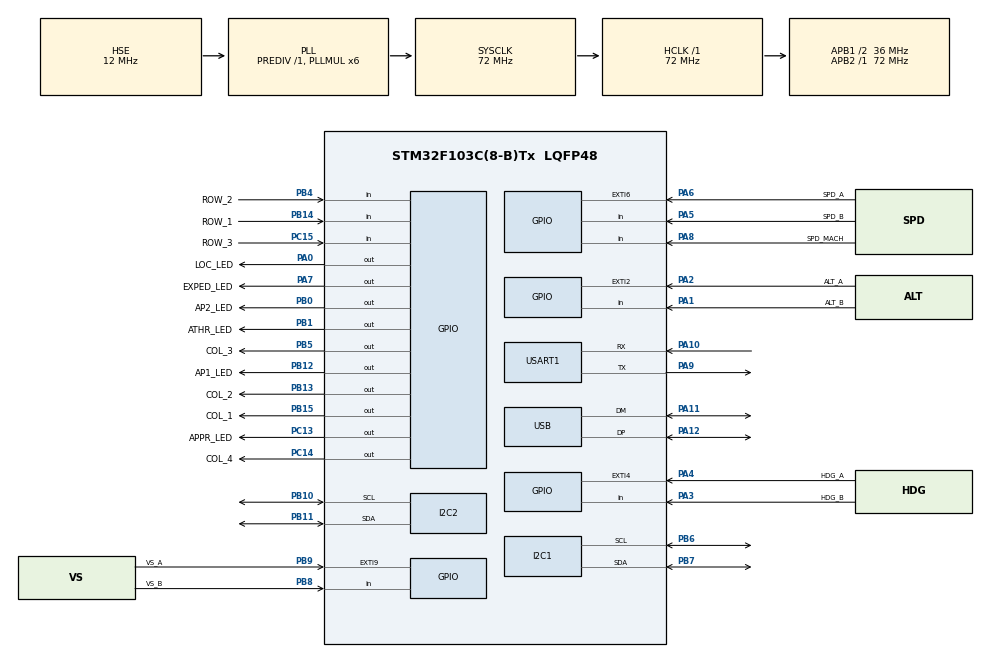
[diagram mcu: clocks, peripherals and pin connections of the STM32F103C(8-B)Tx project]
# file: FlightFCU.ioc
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Dma.I2C1_TX.0.Direction=DMA_MEMORY_TO_PERIPH
Dma.I2C1_TX.0.Instance=DMA1_Channel6
Dma.I2C1_TX.0.MemDataAlignment=DMA_MDATAALIGN_BYTE
Dma.I2C1_TX.0.MemInc=DMA_MINC_ENABLE
Dma.I2C1_TX.0.Mode=DMA_NORMAL
Dma.I2C1_TX.0.PeriphDataAlignment=DMA_PDATAALIGN_BYTE
Dma.I2C1_TX.0.PeriphInc=DMA_PINC_DISABLE
Dma.I2C1_TX.0.Priority=DMA_PRIORITY_LOW
Dma.I2C2_TX.1.Direction=DMA_MEMORY_TO_PERIPH
Dma.I2C2_TX.1.Instance=DMA1_Channel4
Dma.I2C2_TX.1.MemDataAlignment=DMA_MDATAALIGN_BYTE
Dma.I2C2_TX.1.MemInc=DMA_MINC_ENABLE
Dma.I2C2_TX.1.Mode=DMA_NORMAL
Dma.I2C2_TX.1.PeriphDataAlignment=DMA_PDATAALIGN_BYTE
Dma.I2C2_TX.1.PeriphInc=DMA_PINC_DISABLE
Dma.I2C2_TX.1.Priority=DMA_PRIORITY_LOW
Dma.Request0=I2C1_TX
Dma.Request1=I2C2_TX
FREERTOS.Mutexes01=printfMutex,Dynamic,NULL
FREERTOS.Tasks01=defaultTask,24,128,StartDefaultTask,Default,NULL,Dynamic,NULL,NULL
FREERTOS.configMINIMAL_STACK_SIZE=128
FREERTOS.configTICK_RATE_HZ=1000
FREERTOS.configTOTAL_HEAP_SIZE=8192
FREERTOS.configUSE_NEWLIB_REENTRANT=1
I2C1.I2C_Mode=I2C_Fast
I2C2.I2C_Mode=I2C_Fast
Mcu.Family=STM32F1
Mcu.Name=STM32F103C(8-B)Tx
Mcu.Package=LQFP48
NVIC.DMA1_Channel4_IRQn=true\:5\:0\:false\:false\:true\:true\:false\:true\:true
NVIC.DMA1_Channel6_IRQn=true\:5\:0\:false\:false\:true\:true\:false\:true\:true
NVIC.EXTI2_IRQn=true\:2\:0\:true\:false\:true\:false\:true\:true\:true
NVIC.EXTI4_IRQn=true\:2\:0\:true\:false\:true\:false\:true\:true\:true
NVIC.EXTI9_5_IRQn=true\:2\:0\:true\:false\:true\:false\:true\:true\:true
NVIC.PriorityGroup=NVIC_PRIORITYGROUP_4
NVIC.TIM2_IRQn=true\:15\:0\:false\:false\:true\:false\:false\:true\:true
NVIC.TimeBase=TIM2_IRQn
NVIC.TimeBaseIP=TIM2
NVIC.USB_LP_CAN1_RX0_IRQn=true\:0\:0\:true\:true\:true\:1\:false\:false\:true\:true
PA0-WKUP.GPIO_Label=LOC_LED
PA0-WKUP.Signal=GPIO_Output
PA1.GPIO_Label=ALT_B
PA1.Signal=GPIO_Input
PA10.Mode=Asynchronous
PA10.Signal=USART1_RX
PA11.Mode=Device
PA11.Signal=USB_DM
PA12.Mode=Device
PA12.Signal=USB_DP
PA13.Mode=Serial_Wire
PA13.Signal=SYS_JTMS-SWDIO
PA14.Mode=Serial_Wire
PA14.Signal=SYS_JTCK-SWCLK
PA2.GPIO_Label=ALT_A
PA2.GPIO_ModeDefaultEXTI=GPIO_MODE_IT_RISING_FALLING
PA2.Signal=GPXTI2
PA3.GPIO_Label=HDG_B
PA3.Signal=GPIO_Input
PA4.GPIO_Label=HDG_A
PA4.GPIO_ModeDefaultEXTI=GPIO_MODE_IT_RISING_FALLING
PA4.Signal=GPXTI4
PA5.GPIO_Label=SPD_B
PA5.Signal=GPIO_Input
PA6.GPIO_Label=SPD_A
PA6.GPIO_ModeDefaultEXTI=GPIO_MODE_IT_RISING_FALLING
PA6.Signal=GPXTI6
PA7.GPIO_Label=EXPED_LED
PA7.Signal=GPIO_Output
PA8.GPIO_Label=SPD_MACH
PA8.GPIO_PuPd=GPIO_PULLUP
PA8.Signal=GPIO_Input
PA9.Mode=Asynchronous
PA9.Signal=USART1_TX
PB0.GPIO_Label=AP2_LED
PB0.Signal=GPIO_Output
PB1.GPIO_Label=ATHR_LED
PB1.Signal=GPIO_Output
PB10.Mode=I2C
PB10.Signal=I2C2_SCL
PB11.Mode=I2C
PB11.Signal=I2C2_SDA
PB12.GPIO_Label=AP1_LED
PB12.Signal=GPIO_Output
PB13.GPIO_Label=COL_2
PB13.GPIO_PuPd=GPIO_NOPULL
PB13.GPIO_Speed=GPIO_SPEED_FREQ_HIGH
PB13.PinState=GPIO_PIN_RESET
PB13.Signal=GPIO_Output
PB14.GPIO_Label=ROW_1
PB14.GPIO_PuPd=GPIO_PULLDOWN
PB14.Signal=GPIO_Input
PB15.GPIO_Label=COL_1
PB15.GPIO_PuPd=GPIO_NOPULL
PB15.GPIO_Speed=GPIO_SPEED_FREQ_HIGH
PB15.PinState=GPIO_PIN_RESET
PB15.Signal=GPIO_Output
PB4.GPIO_Label=ROW_2
PB4.GPIO_PuPd=GPIO_PULLDOWN
PB4.Signal=GPIO_Input
PB5.GPIO_Label=COL_3
PB5.GPIO_PuPd=GPIO_NOPULL
PB5.GPIO_Speed=GPIO_SPEED_FREQ_HIGH
PB5.PinState=GPIO_PIN_RESET
PB5.Signal=GPIO_Output
PB6.Mode=I2C
PB6.Signal=I2C1_SCL
PB7.Mode=I2C
PB7.Signal=I2C1_SDA
PB8.GPIO_Label=VS_B
PB8.Signal=GPIO_Input
PB9.GPIO_Label=VS_A
PB9.GPIO_ModeDefaultEXTI=GPIO_MODE_IT_RISING_FALLING
PB9.Signal=GPXTI9
PC13-TAMPER-RTC.GPIO_Label=APPR_LED
PC13-TAMPER-RTC.Signal=GPIO_Output
PC14-OSC32_IN.GPIO_Label=COL_4
PC14-OSC32_IN.GPIO_PuPd=GPIO_NOPULL
PC14-OSC32_IN.GPIO_Speed=GPIO_SPEED_FREQ_HIGH
PC14-OSC32_IN.PinState=GPIO_PIN_RESET
PC14-OSC32_IN.Signal=GPIO_Output
PC15-OSC32_OUT.GPIO_Label=ROW_3
PC15-OSC32_OUT.GPIO_PuPd=GPIO_PULLDOWN
PC15-OSC32_OUT.Signal=GPIO_Input
PD0-OSC_IN.Mode=HSE-External-Oscillator
PD0-OSC_IN.Signal=RCC_OSC_IN
PD1-OSC_OUT.Mode=HSE-External-Oscillator
PD1-OSC_OUT.Signal=RCC_OSC_OUT
ProjectManager.HeapSize=0x200
ProjectManager.StackSize=0x400
ProjectManager.TargetToolchain=STM32CubeIDE
RCC.AHBFreq_Value=72000000
RCC.APB1CLKDivider=RCC_HCLK_DIV2
RCC.APB1Freq_Value=36000000
RCC.APB1TimFreq_Value=72000000
RCC.APB2Freq_Value=72000000
RCC.APB2TimFreq_Value=72000000
RCC.HCLKFreq_Value=72000000
RCC.HSE_VALUE=12000000
RCC.PLLMUL=RCC_PLL_MUL6
RCC.PLLSourceVirtual=RCC_PLLSOURCE_HSE
RCC.SYSCLKFreq_VALUE=72000000
RCC.SYSCLKSource=RCC_SYSCLKSOURCE_PLLCLK
RCC.USBFreq_Value=48000000
RCC.USBPrescaler=RCC_USBCLKSOURCE_PLL_DIV1_5
TIM3.Period=65535
TIM3.Prescaler=72-1
USART1.VirtualMode=VM_ASYNC
USB_DEVICE.CLASS_NAME_FS=CUSTOM_HID
USB_DEVICE.MANUFACTURER_STRING=XLD Electric Inc.
USB_DEVICE.USBD_CUSTOMHID_OUTREPORT_BUF_SIZE=13
USB_DEVICE.USBD_CUSTOM_HID_REPORT_DESC_SIZE=36
USB_DEVICE.VID=2023
USB_DEVICE.VirtualMode=CustomHid
USB_DEVICE.VirtualModeFS=Custom_Hid_FS
VP_FREERTOS_VS_CMSIS_V2.Mode=CMSIS_V2
VP_SYS_VS_tim2.Mode=TIM2
VP_TIM3_VS_ClockSourceINT.Mode=Internal
VP_USB_DEVICE_VS_USB_DEVICE_CUSTOM_HID_FS.Mode=CUSTOM_HID_FS
board=custom

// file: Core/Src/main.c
/* USER CODE BEGIN Header */
/**
 ******************************************************************************
 * @file           : main.c
 * @brief          : Main program body
 ******************************************************************************
 * @attention
 *
 * Copyright (c) 2023 STMicroelectronics.
 * All rights reserved.
 *
 * This software is licensed under terms that can be found in the LICENSE file
 * in the root directory of this software component.
 * If no LICENSE file comes with this software, it is provided AS-IS.
 *
 ******************************************************************************
 */
/* USER CODE END Header */
#include "main.h"
#include "cmsis_os.h"
#include "dma.h"
#include "i2c.h"
#include "tim.h"
#include "usart.h"
#include "usb_device.h"
#include "gpio.h"

/* USER CODE BEGIN Includes */
#include "usbd_customhid.h"
#include "stdio.h"
#include "bsp_key.h"
#include "u8g2.h"
#include "stm32_u8g2.h"
/* USER CODE END Includes */

/* USER CODE BEGIN PV */

uint32_t usb_send_buf = {0};
/* USER CODE END PV */

void SystemClock_Config(void);
void MX_FREERTOS_Init(void);
static void MX_NVIC_Init(void);
/* USER CODE BEGIN PFP */
uint8_t __io_putchar(int ch)
{
    HAL_UART_Transmit(&huart1, (uint8_t *)&ch, 1, 0xFFFF);
    return ch;
}

/* USER CODE END PFP */

/* USER CODE BEGIN 0 */
/* 使用状态机来完成数据维护 */
panel_state_t fcu_state = {0};
uint8_t fcu_update      = 1;

/**
 * @brief  EXTI line detection callbacks.
 * @param  GPIO_Pin: Specifies the pins connected EXTI line
 * @retval None
 */
void HAL_GPIO_EXTI_Callback(uint16_t GPIO_Pin)
{
    // ec11 interrupt variable
    static uint8_t spd_flag, spd_cw1, spd_cw2;
    static uint8_t hdg_flag, hdg_cw1, hdg_cw2;
    static uint8_t alt_flag, alt_cw1, alt_cw2;
    static uint8_t vs_flag, vs_cw1, vs_cw2;
    static uint8_t alv, blv;
    /* Prevent unused argument(s) compilation warning */
    /* NOTE: This function Should not be modified, when the callback is needed,
             the HAL_GPIO_EXTI_Callback could be implemented in the user file
     */
    if (GPIO_Pin == SPD_A_Pin) {
        alv = HAL_GPIO_ReadPin(SPD_A_GPIO_Port, SPD_A_Pin);
        blv = HAL_GPIO_ReadPin(SPD_B_GPIO_Port, SPD_B_Pin);
        if (spd_flag == 0 && alv == 0) {
            spd_cw1  = blv;
            spd_flag = 1;
        }
        if (spd_flag && alv) {
            spd_cw2 = 1 - blv; // 取反是因为 alv,blv必然异步，一高一低。
            if (spd_cw1 && spd_cw2) {
                usb_send_buf |= 1 << SPD_A_SFB;
                //                fcu_state.spd_selected += 1;
            }
            if (spd_cw1 == 0 && spd_cw2 == 0) {
                usb_send_buf |= 1 << SPD_B_SFB;
                //                fcu_state.spd_selected -= 1;
            }
            spd_flag = 0;
        }
    } else if (GPIO_Pin == HDG_A_Pin) {
        alv = HAL_GPIO_ReadPin(HDG_A_GPIO_Port, HDG_A_Pin);
        blv = HAL_GPIO_ReadPin(HDG_B_GPIO_Port, HDG_B_Pin);
        if (hdg_flag == 0 && alv == 0) {
            hdg_cw1  = blv;
            hdg_flag = 1;
        }
        if (hdg_flag && alv) {
            hdg_cw2 = 1 - blv; // 取反是因为 alv,blv必然异步，一高一低。
            if (hdg_cw1 && hdg_cw2) {
                usb_send_buf |= 1 << HDG_A_SFB;
                //                fcu_state.hdg_selected += 1;
            }
            if (hdg_cw1 == 0 && hdg_cw2 == 0) {
                usb_send_buf |= 1 << HDG_B_SFB;
                //                fcu_state.hdg_selected -= 1;
            }
            hdg_flag = 0;
        }
    } else if (GPIO_Pin == ALT_A_Pin) {
        alv = HAL_GPIO_ReadPin(ALT_A_GPIO_Port, ALT_A_Pin);
        blv = HAL_GPIO_ReadPin(ALT_B_GPIO_Port, ALT_B_Pin);
        if (alt_flag == 0 && alv == 0) {
            alt_cw1  = blv;
            alt_flag = 1;
        }
        if (alt_flag && alv) {
            alt_cw2 = 1 - blv; // 取反是因为 alv,blv必然异步，一高一低。
            if (alt_cw1 && alt_cw2) {
                usb_send_buf |= 1 << ALT_A_SFB;
                fcu_state.alt_selected += fcu_state.alt_increment == 0 ? 100 : 1000;
            }
            if (alt_cw1 == 0 && alt_cw2 == 0) {
                usb_send_buf |= 1 << ALT_B_SFB;
                fcu_state.alt_selected -= fcu_state.alt_increment == 0 ? 100 : 1000;
            }
            alt_flag = 0;
        }
    } else if (GPIO_Pin == VS_A_Pin) {
        alv = HAL_GPIO_ReadPin(VS_A_GPIO_Port, VS_A_Pin);
        blv = HAL_GPIO_ReadPin(VS_B_GPIO_Port, VS_B_Pin);
        //        printf("alv:%d blv:%d\n", alv, blv);
        if (vs_flag == 0 && alv == 0) {
            vs_cw1  = blv;
            vs_flag = 1;
        }
        if (vs_flag && alv) {
            vs_cw2 = 1 - blv; // 取反是因为 alv,blv必然异步，一高一低。
            if (vs_cw1 && vs_cw2) {
                usb_send_buf |= 1 << VS_A_SFB;
                //                fcu_state.vs_selected += 1;
            }
            if (vs_cw1 == 0 && vs_cw2 == 0) {
                usb_send_buf |= 1 << VS_B_SFB;
                //                fcu_state.vs_selected -= 1;
            }
            vs_flag = 0;
        }
    }
}
u8g2_t screen_left;
u8g2_t screen_right;
/* USER CODE END 0 */

int main(void)
{

    /* MCU Configuration--------------------------------------------------------*/

    /* Reset of all peripherals, Initializes the Flash interface and the Systick. */
    HAL_Init();

    /* Configure the system clock */
    SystemClock_Config();

    /* Initialize all configured peripherals */
    MX_GPIO_Init();
    MX_DMA_Init();
    MX_I2C1_Init();
    MX_I2C2_Init();
    MX_USART1_UART_Init();
    MX_TIM3_Init();

    /* Initialize interrupts */
    MX_NVIC_Init();
    /* USER CODE BEGIN 2 */
    /*------------ 初始化 ---------------*/

    u8g2_init_hi2c2(&screen_left);
    u8g2_init_hi2c1(&screen_right);
    /* USER CODE END 2 */

    /* Init scheduler */
    osKernelInitialize(); /* Call init function for freertos objects (in freertos.c) */
    MX_FREERTOS_Init();

    /* Start scheduler */
    osKernelStart();
    /* We should never get here as control is now taken by the scheduler */
    /* Infinite loop */
    while (1) {

    }
}

void SystemClock_Config(void)
{
    RCC_OscInitTypeDef RCC_OscInitStruct   = {0};
    RCC_ClkInitTypeDef RCC_ClkInitStruct   = {0};
    RCC_PeriphCLKInitTypeDef PeriphClkInit = {0};

    /** Initializes the RCC Oscillators according to the specified parameters
     * in the RCC_OscInitTypeDef structure.
     */
    RCC_OscInitStruct.OscillatorType = RCC_OSCILLATORTYPE_HSE;
    RCC_OscInitStruct.HSEState       = RCC_HSE_ON;
    RCC_OscInitStruct.HSEPredivValue = RCC_HSE_PREDIV_DIV1;
    RCC_OscInitStruct.HSIState       = RCC_HSI_ON;
    RCC_OscInitStruct.PLL.PLLState   = RCC_PLL_ON;
    RCC_OscInitStruct.PLL.PLLSource  = RCC_PLLSOURCE_HSE;
    RCC_OscInitStruct.PLL.PLLMUL     = RCC_PLL_MUL6;
    if (HAL_RCC_OscConfig(&RCC_OscInitStruct) != HAL_OK) {
        Error_Handler();
    }

    /** Initializes the CPU, AHB and APB buses clocks
     */
    RCC_ClkInitStruct.ClockType      = RCC_CLOCKTYPE_HCLK | RCC_CLOCKTYPE_SYSCLK | RCC_CLOCKTYPE_PCLK1 | RCC_CLOCKTYPE_PCLK2;
    RCC_ClkInitStruct.SYSCLKSource   = RCC_SYSCLKSOURCE_PLLCLK;
    RCC_ClkInitStruct.AHBCLKDivider  = RCC_SYSCLK_DIV1;
    RCC_ClkInitStruct.APB1CLKDivider = RCC_HCLK_DIV2;
    RCC_ClkInitStruct.APB2CLKDivider = RCC_HCLK_DIV1;

    if (HAL_RCC_ClockConfig(&RCC_ClkInitStruct, FLASH_LATENCY_2) != HAL_OK) {
        Error_Handler();
    }
    PeriphClkInit.PeriphClockSelection = RCC_PERIPHCLK_USB;
    PeriphClkInit.UsbClockSelection    = RCC_USBCLKSOURCE_PLL_DIV1_5;
    if (HAL_RCCEx_PeriphCLKConfig(&PeriphClkInit) != HAL_OK) {
        Error_Handler();
    }
}

/**
 * @brief NVIC Configuration.
 * @retval None
 */
static void MX_NVIC_Init(void)
{
    /* USB_LP_CAN1_RX0_IRQn interrupt configuration */
    HAL_NVIC_SetPriority(USB_LP_CAN1_RX0_IRQn, 0, 0);
    HAL_NVIC_EnableIRQ(USB_LP_CAN1_RX0_IRQn);
}

void HAL_TIM_PeriodElapsedCallback(TIM_HandleTypeDef *htim)
{
    if (htim->Instance == TIM2) {
        HAL_IncTick();
    }
}

void Error_Handler(void)
{
    /* USER CODE BEGIN Error_Handler_Debug */
    printf("Error Handler!\n");
    /* User can add his own implementation to report the HAL error return state */
    __disable_irq();
    while (1) {
    }
    /* USER CODE END Error_Handler_Debug */
}

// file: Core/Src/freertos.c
/* USER CODE BEGIN Header */
/**
 ******************************************************************************
 * File Name          : freertos.c
 * Description        : Code for freertos applications
 ******************************************************************************
 * @attention
 *
 * Copyright (c) 2023 STMicroelectronics.
 * All rights reserved.
 *
 * This software is licensed under terms that can be found in the LICENSE file
 * in the root directory of this software component.
 * If no LICENSE file comes with this software, it is provided AS-IS.
 *
 ******************************************************************************
 */
/* USER CODE END Header */

#include "FreeRTOS.h"
#include "task.h"
#include "main.h"
#include "cmsis_os.h"

/* USER CODE BEGIN Includes */
#include "stdio.h"
#include "bsp_key.h"
#include "u8g2.h"
#include "stm32_u8g2.h"
#include "usbd_customhid.h"

/* USER CODE END Includes */

/* USER CODE BEGIN PD */
#define SPD_H_POS             0
#define HDG_H_POS             52

#define ALT_H_POS             0
#define VS_H_POS              72

#define USE_USB_PAGE          1

#define KEY_DEBUG_PRINTF(...) printf(__VA_ARGS__)
/* USER CODE END PD */

/* USER CODE BEGIN Variables */
extern uint32_t usb_send_buf;
extern panel_state_t fcu_state;
extern uint8_t fcu_update;
extern USBD_HandleTypeDef hUsbDeviceFS;
static uint8_t usb_inited = 0;

static inline int8_t USBD_CUSTOM_HID_SendReport_FS(uint8_t *report, uint16_t len)
{
    return USBD_CUSTOM_HID_SendReport(&hUsbDeviceFS, report, len);
}
/* USER CODE END Variables */
/* Definitions for defaultTask */
osThreadId_t defaultTaskHandle;
const osThreadAttr_t defaultTask_attributes = {
    .name       = "defaultTask",
    .stack_size = 128 * 4,
    .priority   = (osPriority_t)osPriorityNormal,
};
/* Definitions for printfMutex */
osMutexId_t printfMutexHandle;
const osMutexAttr_t printfMutex_attributes = {
    .name = "printfMutex"};

/* USER CODE BEGIN FunctionPrototypes */
osThreadId_t displayTaskHandle;
const osThreadAttr_t displayTask_attributes = {
    .name       = "displayTask",
    .stack_size = 512 * 4,
    .priority   = (osPriority_t)osPriorityNormal,
};
osThreadId_t keyScanTaskHandle;
const osThreadAttr_t keyScanTask_attributes = {
    .name       = "keyScanTask",
    .stack_size = 128 * 4,
    .priority   = (osPriority_t)osPriorityNormal,
};
osThreadId_t autopilotBeepTaskHandle;
const osThreadAttr_t autopilotBeepTask_attributes = {
    .name       = "autopilotBeepTask",
    .stack_size = 128 * 1,
    .priority   = (osPriority_t)osPriorityLow,
};
osThreadId_t usbTransmitTaskHandle;
const osThreadAttr_t usbTransmitTask_attributes = {
    .name       = "usbTransmitTask",
    .stack_size = 128 * 1,
    .priority   = (osPriority_t)osPriorityRealtime,
};
void StartDisplayTask(void *argument);
void StartKeyScanTask(void *argument);
void StartAutopilotBeepTask(void *argument);
void StartUSBTransmitTask(void *argument);

void thread_safe_printf(char *format, ...);

/* USER CODE END FunctionPrototypes */

void StartDefaultTask(void *argument);

extern void MX_USB_DEVICE_Init(void);
void MX_FREERTOS_Init(void); /* (MISRA C 2004 rule 8.1) */

void MX_FREERTOS_Init(void)
{
    /* Create the mutex(es) */
    /* creation of printfMutex */
    printfMutexHandle = osMutexNew(&printfMutex_attributes);

    /* Create the thread(s) */
    /* creation of defaultTask */
    defaultTaskHandle = osThreadNew(StartDefaultTask, NULL, &defaultTask_attributes);

    /* USER CODE BEGIN RTOS_THREADS */
    /* add threads, ... */
    displayTaskHandle       = osThreadNew(StartDisplayTask, NULL, &displayTask_attributes);
    keyScanTaskHandle       = osThreadNew(StartKeyScanTask, NULL, &keyScanTask_attributes);
    autopilotBeepTaskHandle = osThreadNew(StartAutopilotBeepTask, NULL, &autopilotBeepTask_attributes);
    usbTransmitTaskHandle   = osThreadNew(StartUSBTransmitTask, NULL, &usbTransmitTask_attributes);
    /* USER CODE END RTOS_THREADS */

}

void StartDefaultTask(void *argument)
{
    /* init code for USB_DEVICE */
    MX_USB_DEVICE_Init();
    /* USER CODE BEGIN StartDefaultTask */
    *((__IO unsigned *)((0x40005C00L) + 0x54)) = 1; // DP PULL UP
    bsp_key_init();
    usb_inited = 1;

    /* hack for overclock */

    /* Infinite loop */
    for (;;) {
        matrix_key_scan();
        osDelay(10); // 10ms
    }
    /* USER CODE END StartDefaultTask */
}

/* USER CODE BEGIN Application */
static inline void panel_led_update(panel_state_t *panel)
{
    HAL_GPIO_WritePin(AP1_LED_GPIO_Port, AP1_LED_Pin, panel->ap1_active);
    HAL_GPIO_WritePin(AP2_LED_GPIO_Port, AP2_LED_Pin, panel->ap2_active);
    HAL_GPIO_WritePin(ATHR_LED_GPIO_Port, ATHR_LED_Pin, panel->ap_throttle_active);
    HAL_GPIO_WritePin(LOC_LED_GPIO_Port, LOC_LED_Pin, panel->loc_mode_active);
    HAL_GPIO_WritePin(EXPED_LED_GPIO_Port, EXPED_LED_Pin, panel->exped_mode_active);
    HAL_GPIO_WritePin(APPR_LED_GPIO_Port, APPR_LED_Pin, panel->appr_mode_active);
}
// 无返回值的函数
void float2Str(char *str, float value)
{
    static char sign;
    if (value >= 0) {
        sign = '+';
    } else {
        sign  = '-';
        value = -value;
    }
    int integer       = (int)value;                                                                              // 将浮点数转换为整数
    float decimalPart = value - (float)integer;                                                                  // 提取小数部分
    int decimalDigits = (decimalPart * 10 >= 0) ? (int)(decimalPart * 10 + 0.5) : (int)(decimalPart * 10 - 0.5); // 提取小数位数
    sprintf(str, "%c%d.%d\n", sign, integer, decimalDigits);                                                     // 打印结果
}
void StartDisplayTask(void *argument)
{
    char display_str_buf[6];
    extern u8g2_t screen_left;
    extern u8g2_t screen_right;
    extern const uint8_t digital7_18[1160] U8G2_FONT_SECTION("digital7_18");
    extern const uint8_t digital7_24[1690] U8G2_FONT_SECTION("digital7_24");
    /* Infinite loop */
    for (;;) {
#if USE_USB_PAGE
        if (hUsbDeviceFS.dev_state == USBD_STATE_CONFIGURED) { // USB 已连接
            if (fcu_update == 0) continue;
            fcu_update = 0;
#endif
            /* ----------------------- LED刷新 ------------------------- */
            panel_led_update(&fcu_state);
            /* ----------------------- 显示刷新 ------------------------- */
            /* Left Screen */
            u8g2_ClearBuffer(&screen_left);

            u8g2_SetFont(&screen_left, digital7_24);
            /* SPD */
            if (fcu_state.spd_dashes) {
                u8g2_DrawStr(&screen_left, SPD_H_POS, 32, "---");
            } else {
                if (fcu_state.spd_mach_mode) { // mach
                    sprintf(display_str_buf, ".%02d", (uint8_t)(fcu_state.spd_selected * 100));
                } else { // knot
                    sprintf(display_str_buf, "%03d", (uint16_t)(fcu_state.spd_selected));
                }
                u8g2_DrawStr(&screen_left, SPD_H_POS, 32, display_str_buf);
            }
            if (fcu_state.spd_dot) { u8g2_DrawFilledEllipse(&screen_left, SPD_H_POS + 40, 23, 4, 4, U8G2_DRAW_ALL); }
            /* HDG */
            if (fcu_state.hdg_dashes) {
                u8g2_DrawStr(&screen_left, HDG_H_POS, 32, "---");
            } else {
                sprintf(display_str_buf, "%03d", fcu_state.hdg_selected);
                u8g2_DrawStr(&screen_left, HDG_H_POS, 32, display_str_buf);
            }
            if (fcu_state.hdg_dot) {
                u8g2_DrawFilledEllipse(&screen_left, HDG_H_POS + 42, 23, 4, 4, U8G2_DRAW_ALL);
            }

            u8g2_SetFont(&screen_left, u8g2_font_finderskeepers_tr);
            if (fcu_state.spd_mach_mode) {
                u8g2_DrawStr(&screen_left, SPD_H_POS + 20, 7, "MACH");
            } else {
                u8g2_DrawStr(&screen_left, SPD_H_POS, 7, "SPD");
            }
            if (fcu_state.trk_fpa_mode) {
                u8g2_DrawStr(&screen_left, HDG_H_POS + 14, 7, "TRK");
                u8g2_DrawStr(&screen_left, 110, 9, "TRK");
                u8g2_DrawStr(&screen_left, 110, 26, "FPA");
            } else {
                u8g2_DrawStr(&screen_left, HDG_H_POS, 7, "HDG");
                u8g2_DrawStr(&screen_left, 110, 9, "HDG");
                u8g2_DrawStr(&screen_left, 110, 26, "V/S");
            }
            u8g2_DrawStr(&screen_left, HDG_H_POS + 34, 7, "LAT");

            u8g2_SendBuffer(&screen_left);
            /* ------- Right Screen --------- */
            u8g2_ClearBuffer(&screen_right);

            u8g2_SetFont(&screen_right, digital7_24);
            sprintf(display_str_buf, "%05d", fcu_state.alt_selected);
            u8g2_DrawStr(&screen_right, ALT_H_POS, 32, display_str_buf);
            if (fcu_state.vs_dashes) {
                u8g2_DrawStr(&screen_right, VS_H_POS, 32, "-----");
            } else {
                if (fcu_state.trk_fpa_mode) { // FPA
                    float2Str(display_str_buf, (float)fcu_state.fpa_selected / 10.0f);
                    u8g2_DrawStr(&screen_right, VS_H_POS, 32, display_str_buf);
                } else {                                                      // V/S
                    sprintf(display_str_buf, "%+03d", fcu_state.vs_selected); // 无需补零
                    u8g2_DrawStr(&screen_right, VS_H_POS, 32, display_str_buf);
                    u8g2_SetFont(&screen_right, digital7_18);
                    u8g2_DrawStr(&screen_right, VS_H_POS + 34, 32, "00");
                }
            }
            if (fcu_state.alt_dot) { u8g2_DrawFilledEllipse(&screen_right, 63, 23, 5, 5, U8G2_DRAW_ALL); }

            u8g2_SetFont(&screen_right, u8g2_font_finderskeepers_tr);
            u8g2_DrawStr(&screen_right, ALT_H_POS + 18, 7, "ALT");
            u8g2_DrawStr(&screen_right, ALT_H_POS + 48, 7, "LVL/CH");
            if (fcu_state.trk_fpa_mode) {
                u8g2_DrawStr(&screen_right, VS_H_POS + 40, 7, "FPA");
            } else {
                u8g2_DrawStr(&screen_right, VS_H_POS + 24, 7, "V/S");
            }
            u8g2_DrawVLine(&screen_right, ALT_H_POS + 36, 3, 4);
            u8g2_DrawHLine(&screen_right, ALT_H_POS + 36, 3, 10);
            u8g2_DrawVLine(&screen_right, VS_H_POS + 20, 3, 4);
            u8g2_DrawHLine(&screen_right, VS_H_POS + 10, 3, 10);

            u8g2_SendBuffer(&screen_right);
#ifdef USE_USB_PAGE
        } else {
            u8g2_SetFont(&screen_right, u8g2_font_crox4h_tr);
            u8g2_ClearBuffer(&screen_right);
            u8g2_DrawStr(&screen_right, 0, 28, "USB Connect.");
            u8g2_SendBuffer(&screen_right);

            u8g2_SetFont(&screen_left, u8g2_font_crox4h_tr);
            u8g2_ClearBuffer(&screen_left);
            u8g2_DrawStr(&screen_left, 20, 28, "Waiting For");
            u8g2_SendBuffer(&screen_left);
        }
#endif
        osDelay(1);
    }
}
void StartKeyScanTask(void *argument)
{
    /* Infinite loop */
    for (;;) {
        KEY_ENUM key = bsp_key_dequeue();
        while (key != KEY_NONE) {
            switch (key) {
                case KEY_SPD_MACH_DOWN:
                    usb_send_buf |= 1 << SPD_MACH_PUSH_SFB;
                    KEY_DEBUG_PRINTF("KEY_SPD_MACH_DOWN\n");
                    break;
                case KEY_SPD_MACH_UP:
                    KEY_DEBUG_PRINTF("KEY_SPD_MACH_UP\n");
                    break;
                case KEY_SPD_MACH_LONG:
                    KEY_DEBUG_PRINTF("KEY_SPD_MACH_LONG\n");
                    break;

                case KEY_SPD_DOWN:
                    usb_send_buf |= 1 << SPD_PUSH_SFB;
                    KEY_DEBUG_PRINTF("KEY_SPD_DOWN\n");
                    break;
                case KEY_SPD_UP:
                    KEY_DEBUG_PRINTF("KEY_SPD_UP\n");
                    break;
                case KEY_SPD_LONG:
                    usb_send_buf |= 1 << SPD_PULL_SFB;
                    KEY_DEBUG_PRINTF("KEY_SPD_LONG\n");
                    break;

                case KEY_TRK_FPA_DOWN:
                    usb_send_buf |= 1 << TRK_FPA_PUSH_SFB;
                    KEY_DEBUG_PRINTF("KEY_TRK_FPA_DOWN\n");
                    break;
                case KEY_TRK_FPA_UP:
                    KEY_DEBUG_PRINTF("KEY_TRK_FPA_UP\n");
                    break;
                case KEY_TRK_FPA_LONG:
                    KEY_DEBUG_PRINTF("KEY_TRK_FPA_LONG\n");
                    break;

                case KEY_AP2_DOWN:
                    usb_send_buf |= 1 << AP2_PUSH_SFB;
                    KEY_DEBUG_PRINTF("KEY_AP2_DOWN\n");
                    break;
                case KEY_AP2_UP:
                    KEY_DEBUG_PRINTF("KEY_AP2_UP\n");
                    break;
                case KEY_AP2_LONG:
                    KEY_DEBUG_PRINTF("KEY_AP2_LONG\n");
                    break;

                case KEY_METRIC_DOWN:
                    usb_send_buf |= 1 << METRIC_PUSH_SFB;
                    KEY_DEBUG_PRINTF("KEY_METRIC_DOWN\n");
                    break;
                case KEY_METRIC_UP:
                    KEY_DEBUG_PRINTF("KEY_METRIC_UP\n");
                    break;
                case KEY_METRIC_LONG:
                    usb_send_buf |= 1 << METRIC_LONG_ALT_INC_TOGGLE_SFB;
                    usb_send_buf ^= 1 << METRIC_PUSH_SFB;
                    KEY_DEBUG_PRINTF("KEY_METRIC_LONG\n");
                    break;

                case KEY_HDG_DOWN:
                    usb_send_buf |= 1 << HDG_PULL_SFB;
                    KEY_DEBUG_PRINTF("KEY_HDG_DOWN\n");
                    break;
                case KEY_HDG_UP:
                    KEY_DEBUG_PRINTF("KEY_HDG_UP\n");
                    break;
                case KEY_HDG_LONG:
                    usb_send_buf |= 1 << HDG_PUSH_SFB;
                    KEY_DEBUG_PRINTF("KEY_HDG_LONG\n");
                    break;

                case KEY_AP1_DOWN:
                    usb_send_buf |= 1 << AP1_PUSH_SFB;
                    KEY_DEBUG_PRINTF("KEY_AP1_DOWN\n");
                    break;
                case KEY_AP1_UP:
                    KEY_DEBUG_PRINTF("KEY_AP1_UP\n");
                    break;
                case KEY_AP1_LONG:
                    KEY_DEBUG_PRINTF("KEY_AP1_LONG\n");
                    break;

                case KEY_ALT_DOWN:
                    usb_send_buf |= 1 << ALT_PUSH_SFB;
                    KEY_DEBUG_PRINTF("KEY_ALT_DOWN\n");
                    break;
                case KEY_ALT_UP:
                    KEY_DEBUG_PRINTF("KEY_ALT_UP\n");
                    break;
                case KEY_ALT_LONG:
                    usb_send_buf |= 1 << ALT_PULL_SFB;
                    KEY_DEBUG_PRINTF("KEY_ALT_LONG\n");
                    break;

                case KEY_VS_DOWN:
                    usb_send_buf |= 1 << VS_PUSH_SFB;
                    KEY_DEBUG_PRINTF("KEY_VS_DOWN\n");
                    break;
                case KEY_VS_UP:
                    KEY_DEBUG_PRINTF("KEY_VS_UP\n");
                    break;
                case KEY_VS_LONG:
                    usb_send_buf |= 1 << VS_PULL_SFB;
                    KEY_DEBUG_PRINTF("KEY_VS_LONG\n");
                    break;

                case KEY_LOC_DOWN:
                    usb_send_buf |= 1 << LOC_PUSH_SFB;
                    KEY_DEBUG_PRINTF("KEY_LOC_DOWN\n");
                    break;
                case KEY_LOC_UP:
                    KEY_DEBUG_PRINTF("KEY_LOC_UP\n");
                    break;
                case KEY_LOC_LONG:
                    KEY_DEBUG_PRINTF("KEY_LOC_LONG\n");
                    break;

                case KEY_ATHR_DOWN:
                    usb_send_buf |= 1 << ATHR_PUSH_SFB;
                    KEY_DEBUG_PRINTF("KEY_ATHR_DOWN\n");
                    break;
                case KEY_ATHR_UP:
                    KEY_DEBUG_PRINTF("KEY_ATHR_UP\n");
                    break;
                case KEY_ATHR_LONG:
                    KEY_DEBUG_PRINTF("KEY_ATHR_LONG\n");
                    break;

                case KEY_EXPED_DOWN:
                    usb_send_buf |= 1 << EXPED_PUSH_SFB;
                    KEY_DEBUG_PRINTF("KEY_EXPED_DOWN\n");
                    break;
                case KEY_EXPED_UP:
                    KEY_DEBUG_PRINTF("KEY_EXPED_UP\n");
                    break;
                case KEY_EXPED_LONG:
                    KEY_DEBUG_PRINTF("KEY_EXPED_LONG\n");
                    break;

                case KEY_APPR_DOWN:
                    usb_send_buf |= 1 << APPR_PUSH_SFB;
                    KEY_DEBUG_PRINTF("KEY_APPR_DOWN\n");
                    break;
                case KEY_APPR_UP:
                    KEY_DEBUG_PRINTF("KEY_APPR_UP\n");
                    break;
                case KEY_APPR_LONG:
                    KEY_DEBUG_PRINTF("KEY_APPR_LONG\n");
                    break;
                default:
                    break;
            }
            key = bsp_key_dequeue();
        }
        osDelay(100);
    }
}
void StartAutopilotBeepTask(void *argument)
{
    /* Infinite loop */
    for (;;) {
        //        if (usb_send_buf) {
        //            USBD_CUSTOM_HID_SendReport_FS((uint8_t *)&usb_send_buf, sizeof(usb_send_buf));
        //            usb_send_buf = 0;
        //        }
        osDelay(portMAX_DELAY);
    }
}
void StartUSBTransmitTask(void *argument)
{
    //    while (usb_inited != 1)
    //        osDelay(100);
    /* Infinite loop */
    static uint32_t start_ticks = 0;
    for (;;) {
        if (usb_send_buf) {
            USBD_CUSTOM_HID_SendReport_FS((uint8_t *)&usb_send_buf, sizeof(usb_send_buf));
            usb_send_buf = 0;
        }
        osDelay(20);
    }
}

#ifdef USE_SELF_SAFE_PRINTF
/**
 * @brief 线程安全的printf方式
 *
 * @param format 同printf的参数。
 * @param ... 在C中，当无法列出传递函数的所有实参的类型和数目时,可以用省略号指定参数表
 */
void thread_safe_printf(char *format, ...)
{
    char buf_str[200 + 1];
    va_list v_args;

    va_start(v_args, format);
    (void)vsnprintf((char *)&buf_str[0],
                    (size_t)sizeof(buf_str),
                    (char const *)format,
                    v_args);
    va_end(v_args);

    /* 互斥信号量 */
    //    xSemaphoreTake(xMutex, portMAX_DELAY);
    osSemaphoreAcquire(printfMutexHandle, portMAX_DELAY);

    printf("%s", buf_str);

    //    xSemaphoreGive(xMutex);
    osSemaphoreRelease(printfMutexHandle);
}
#endif
/* USER CODE END Application */
